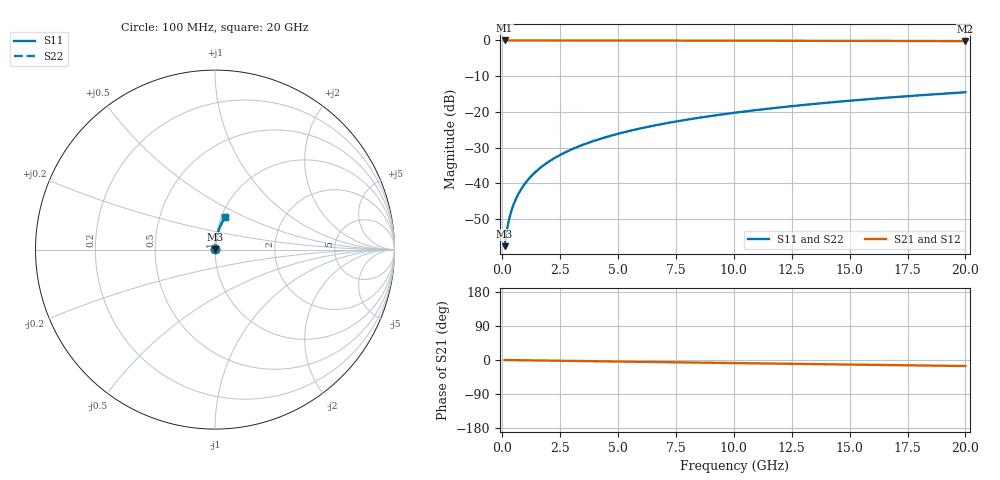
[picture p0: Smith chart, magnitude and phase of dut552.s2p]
! Touchstone file exported from HFSS 2026.1.0
!  File:  C:/ffzhzh/LocalFiles/Ansys_Project_Files/temp_train_TMRDL_552_1783007687_46388.aedt
!  Generated:  11:56:06 PM Jul  2, 2026
!  Design:  TMRDL
!  Project:  temp_train_TMRDL_552_1783007687_46388
! Variables:
!  h_bsmrdl = 2um
!  h_ox = 20um
!  h_rdl = 5um
!  h_sub = 80um
!  h_tmrdl = 4.97um
!  h_tsv = 80um
!  h_via = 3um
!  l_bsmrdl = 300um
!  l_sub = 568.85um
!  l_tmrdl = 168.85um
!  m_sub = 200um
!  pitch = 56.53um
!  r_tsv = 6um
!  s_tmrdl = 10um
!  w_bsmrdl = 18um
!  w_sub = 500um
!  w_tmrdl = 18.17um
!  x_tsv_center1 = 177.935um
!  x_tsv_center2 = 495.935um
!  x_tsv_center3 = 682.955um
!  x_tsv_center4 = 1000.955um
!  x_tsv_center5 = 1187.975um
!  x_tsv_center6 = 1505.975um
# GHz S MA R 50.000000
! Terminal data exported
! Port[1] = TM_RDL1_1_T1
! Port[2] = TM_RDL1_1_T2
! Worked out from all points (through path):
!   200 points, 100 MHz to 20 GHz, reference 50 ohm
!   highest |S21| = -0.01 dB at 100 MHz (marker M1); lowest = -0.2 dB at 20 GHz (marker M2)
!   group delay of S21, straight-line fit = 2.21 ps
!   lowest |S11| = -57.6 dB at 100 MHz (marker M3), VSWR 1.00, Z = 50.1 + j0.105 ohm
!   |S11| at or under -10 dB: start of sweep to end of sweep
!   |S22| runs from -57.6 to -14.5 dB; largest |S21 - S12| = 2.2e-15
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0.1  0.001317 52.6  0.9992 -0.1  0.9992 -0.1  0.001317 52.6
! Gamma 0 0 0 0
! Port Impedance 50 0 50 0
0.2  0.002237 68.1  0.9992 -0.2  0.9992 -0.2  0.002237 68.1
0.3  0.003209 74.1  0.9991 -0.3  0.9991 -0.3  0.003209 74.1
0.4  0.004188 77.4  0.9991 -0.3  0.9991 -0.3  0.004188 77.4
0.5  0.00517 79.4  0.9991 -0.4  0.9991 -0.4  0.00517 79.4
0.7  0.007139 81.7  0.999 -0.6  0.999 -0.6  0.007139 81.7
0.8  0.008126 82.5  0.999 -0.7  0.999 -0.7  0.008126 82.5
1  0.0101 83.5  0.9989 -0.8  0.9989 -0.8  0.0101 83.5
1.2  0.01208 84.1  0.9989 -1.0  0.9989 -1.0  0.01208 84.1
1.4  0.01407 84.5  0.9988 -1.2  0.9988 -1.2  0.01407 84.5
1.7  0.01704 84.9  0.9987 -1.4  0.9987 -1.4  0.01704 84.9
2  0.02001 85.0  0.9986 -1.7  0.9986 -1.7  0.02001 85.0
2.7  0.02692 85.0  0.9983 -2.2  0.9983 -2.2  0.02692 85.0
3.5  0.03476 84.7  0.9979 -2.9  0.9979 -2.9  0.03476 84.7
4.2  0.04158 84.3  0.9975 -3.4  0.9975 -3.4  0.04158 84.3
5  0.04933 83.8  0.9969 -4.1  0.9969 -4.1  0.04933 83.8
6.8  0.0666 82.5  0.9956 -5.5  0.9956 -5.5  0.0666 82.5
8.3  0.08085 81.5  0.9942 -6.7  0.9942 -6.7  0.08085 81.5
10.1  0.09781 80.2  0.9924 -8.2  0.9924 -8.2  0.09781 80.2
13.4  0.1285 77.8  0.9885 -10.8  0.9885 -10.8  0.1285 77.8
16.7  0.1586 75.3  0.9838 -13.4  0.9838 -13.4  0.1586 75.3
20  0.188 72.9  0.9783 -15.9  0.9783 -15.9  0.188 72.9
